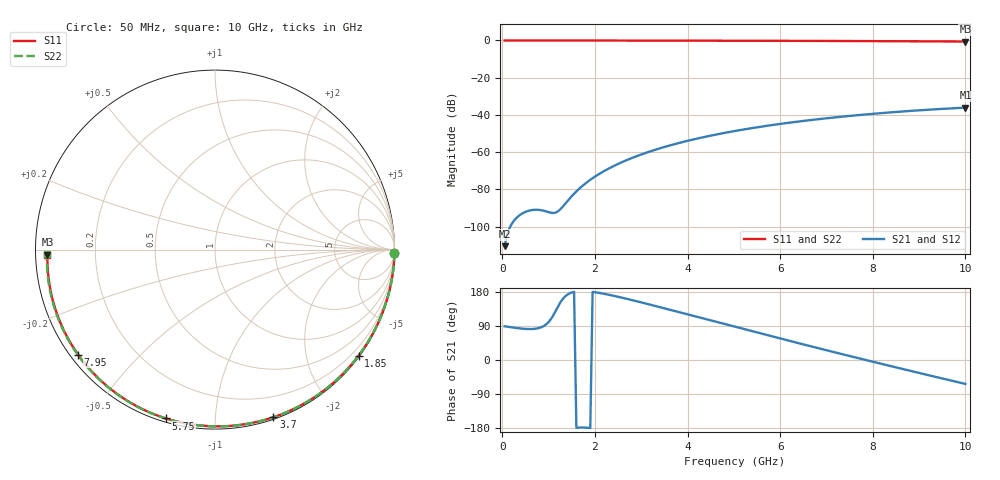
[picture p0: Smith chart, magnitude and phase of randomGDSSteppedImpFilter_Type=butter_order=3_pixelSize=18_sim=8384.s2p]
! freq	dB(S11)	phase(S11)	dB(S12)	phase(S12)
!  dB(S21)	phase(S21)	dB(S22)	phase(S22)
!S-par simulation data
#  GHz  S  DB  R 50
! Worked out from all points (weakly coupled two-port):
!   200 points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, 50 MHz to 10 GHz, reference 50 ohm
!   highest |S21| = -36.06 dB at 10 GHz (marker M1); lowest = -110.4 dB at 50 MHz (marker M2)
!   lowest |S11| = -0.6 dB at 10 GHz (marker M3), VSWR 29.35, Z = 1.7 - j0.755 ohm
!   |S11| at or under -10 dB: nowhere
!   |S22| runs from -0.6 to 0.0 dB; largest |S21 - S12| = 0
!   S11 on the Smith chart (normalised r, x): 50 MHz: open; 1.85 GHz: 0.03, -3.04; 3.7 GHz: 0.02, -1.41; 5.75 GHz: 0.02, -0.75; 7.95 GHz: 0.02, -0.34; 10 GHz: 0.03, -0.02
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0.05  -0.00 -1.0  -110.43 89.0  -110.43 89.0  -0.00 -1.1
0.4  -0.01 -8.0  -93.36 83.0  -93.36 83.0  -0.01 -8.5
0.8  -0.02 -15.9  -90.97 84.7  -90.97 84.7  -0.02 -16.8
1.2  -0.03 -23.8  -91.77 140.6  -91.77 140.6  -0.03 -25.1
1.6  -0.04 -31.6  -81.00 -179.0  -81.00 -179.0  -0.04 -33.3
1.65  -0.04 -32.5  -79.82 -178.3  -79.82 -178.3  -0.04 -34.3
1.75  -0.04 -34.5  -77.66 -178.1  -77.66 -178.1  -0.05 -36.3
1.85  -0.05 -36.4  -75.70 -178.9  -75.70 -178.9  -0.05 -38.4
2.15  -0.05 -42.1  -70.79 175.8  -70.79 175.8  -0.06 -44.4
2.5  -0.06 -48.8  -66.28 166.8  -66.28 166.8  -0.07 -51.3
2.9  -0.07 -56.2  -62.12 155.1  -62.12 155.1  -0.08 -59.0
3.4  -0.09 -65.4  -57.93 139.6  -57.93 139.6  -0.09 -68.5
3.7  -0.10 -70.8  -55.79 130.0  -55.79 130.0  -0.10 -74.1
4.35  -0.12 -82.3  -51.88 109.2  -51.88 109.2  -0.12 -85.8
5.05  -0.15 -94.3  -48.48 86.8  -48.48 86.8  -0.15 -98.1
5.75  -0.18 -106.1  -45.68 64.6  -45.68 64.6  -0.18 -109.9
6.7  -0.24 -121.9  -42.61 35.0  -42.61 35.0  -0.24 -125.4
7.35  -0.29 -132.6  -40.87 15.1  -40.87 15.1  -0.29 -135.9
7.95  -0.34 -142.5  -39.49 -3.0  -39.49 -3.0  -0.34 -145.4
8.35  -0.38 -149.2  -38.67 -15.0  -38.67 -15.0  -0.38 -151.8
9.2  -0.48 -163.8  -37.18 -40.0  -37.18 -40.0  -0.47 -165.4
10  -0.59 -178.3  -36.06 -63.1  -36.06 -63.1  -0.56 -178.6
